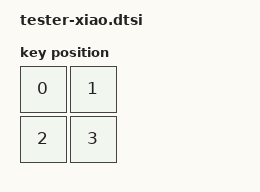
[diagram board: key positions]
/ {
    macropad_physical_layout: macropad_physical_layout {
        compatible = "zmk,physical-layout";
        display-name = "XIAO tester";
        kscan = <&kscan0>;
        transform = <&default_transform>;

        keys  //                     w   h    x    y     rot    rx    ry
            = <&key_physical_attrs 100 100    0    0       0     0     0>
            , <&key_physical_attrs 100 100  100    0       0     0     0>
            , <&key_physical_attrs 100 100    0  100       0     0     0>
            , <&key_physical_attrs 100 100  100  100       0     0     0>
            ;
    };

    position_map {
        compatible = "zmk,physical-layout-position-map";

        macropad_physical_layout {
            physical-layout = <&macropad_physical_layout>;
            positions = <>;
        };
    };
};
